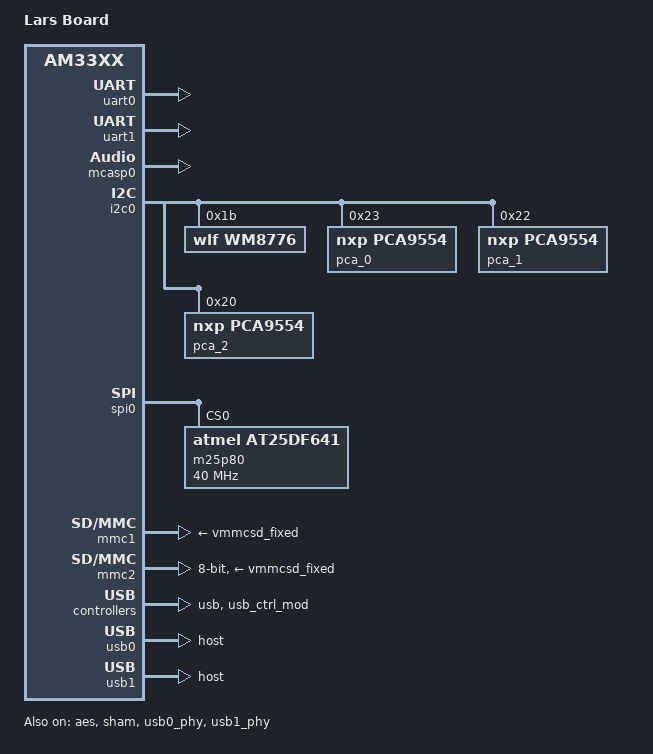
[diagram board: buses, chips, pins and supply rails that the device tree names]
/*
 * Copyright (C) 2012 Texas Instruments Incorporated - http://www.ti.com/
 *
 * This program is free software; you can redistribute it and/or modify
 * it under the terms of the GNU General Public License version 2 as
 * published by the Free Software Foundation.
 */
/dts-v1/;

#include "am33xx.dtsi"
#include "am335x-bone-common.dtsi"

/ {
	model = "Lars Board";
	compatible = "ti,am33xx";	
};

&am33xx_pinmux {
	mcasp0_pins: mcasp0_pins {
		pinctrl-single,pins = <
			AM33XX_IOPAD(0x990, PIN_OUTPUT | MUX_MODE0)
			AM33XX_IOPAD(0x994, PIN_OUTPUT | MUX_MODE0) 
			AM33XX_IOPAD(0x998, PIN_OUTPUT | MUX_MODE0)
			AM33XX_IOPAD(0x99c, PIN_INPUT | MUX_MODE0)
			AM33XX_IOPAD(0x9a0, PIN_OUTPUT | MUX_MODE0)
			AM33XX_IOPAD(0x9a4, PIN_OUTPUT | MUX_MODE0)
			AM33XX_IOPAD(0x9a8, PIN_INPUT | MUX_MODE0) 
			AM33XX_IOPAD(0x9ac, PIN_INPUT | MUX_MODE0)
			>;
		};
	
	uart1_pins: uart1_pins {
		pinctrl-single,pins = <AM33XX_IOPAD(0x980, 0x30)>;
	};
	
	i2c0_pins {
		pinctrl-single,pins = <
			AM33XX_IOPAD(0x988, 0x70)
                        AM33XX_IOPAD(0x98c, 0x70)
		>;
	};
	
	rstctl_pins: rstctl_pins {
		pinctrl-single,pins = <AM33XX_IOPAD(0x854, 0x17)>;
	};
};

&uart0 {
	status = "okay";
};

&uart1 {
	pinctrl-names = "default";
	pinctrl-0 = <&uart1_pins>;
	interrupts = <0x49>;
	reg = <0x0 0x2000>;
	clock-frequency = <0x2dc6c00>;
	status = "okay";
};

&mcasp0	{
	#sound-dai-cells = <0>;
	pinctrl-names = "default";
	pinctrl-0 = <&mcasp0_pins>;
	rx-num-evt = <1>;
	tx-num-evt = <1>;
	serial-dir = <1 2 0 0
		      0 0 0 0
		      0 0 0 0
		      0 0 0 0>;
	num-serializer = <16>;
	tdm-slots = <2>;
	op-mode = <0>;
	status = "okay";
};

&i2c0 {
	status = "okay";
	pinctrl-names = "default";
        pinctrl-0 = <&i2c0_pins>;
	#address-cells = <1>;
	#size-cells = <0>;	

	wm8776: wm8776@1b {
		#sound-dai-cells = <1>;
		reg = <0x1b>;
		compatible = "wlf,wm8776";
	};
		
	pca_0: pca9554@23 {
		reg = <0x23>;
		compatible = "nxp,pca9554";
	};

	pca_1: pca9554@22 {
		reg = <0x22>;
		compatible = "nxp,pca9554";
	};
	pca_2: pca9554@20 {
		reg = <0x20>;
		compatible = "nxp,pca9554";
	};
};

&i2c1 {
	status = "disabled";
};

&i2c2 {
	status = "disabled";
};

&spi0 {
	status = "okay";
	m25p80@0 {
		m25p,fast-read;
		spi-max-frequency = <0x2625a00>;
		reg = <0x00>;
		compatible = "atmel,at25df641";
		#size-cells = <0x01>;
		#address-cells = <0x01>;

		ethaddr@7F0000 {
		reg = <0x7f0000 0x10000>;
		label = "MAC Address";
		};

		uImage@100000 {
		read-only;
		reg = <0x100000 0x500000>;
		label = "Linux Kernel";
		};

		ubootenv@F0000 {
		reg = <0xf0000 0x10000>;
		label = "U-Boot Environment";
		};

		uboot@80000 {
		read-only;
		reg = <0x80000 0x70000>;
		label = "U-Boot";
		};

		spl@0 {
		read-only;
		reg = <0x00 0x80000>;
		label = "U-Boot SPL";
		};
	};
};

&mmc1 {
	vmmc-supply = <&vmmcsd_fixed>;
};

&mmc2 {
	vmmc-supply = <&vmmcsd_fixed>;
	pinctrl-names = "default";
	pinctrl-0 = <&emmc_pins>;
	bus-width = <8>;
	status = "okay";
};

&gpu {
	status = "disabled";
};

&aes {
	status = "okay";
};

&sham {
	status = "okay";
};

&usb {
	status = "okay";
};

&usb_ctrl_mod {
	status = "okay";
};

&usb0_phy {
	status = "okay";
};

&usb1_phy {
	status = "okay";
};

&usb0 {
	status = "okay";
	dr_mode = "host";
};

&usb1 {
	status = "okay";
	dr_mode = "host";
};

&cppi41dma  {
	status = "okay";
};

/ {
 		sound {
 			compatible = "simple-audio-card";
			#address-cells = <1>;
			#size-cells = <0>;

			//simple-audio-card,routing = "cpu0 Capture", "Capture";

			simple-audio-card,name = "audio card";			
			
			simple-audio-card,dai-link@0 {
				reg = <0>;
                                format = "i2s";
				bitclock-master = <&cpu1>;
				frame-master = <&cpu1>;
			
				cpu1: cpu {
                                        sound-dai = <&mcasp0>;
                                        system-clock-frequency = <11289600 24576000>;	
					//system-clock-direction-out;
				};

                                codec {
                                        sound-dai = <&wm8776 0>;
				};
                        };
			simple-audio-card,dai-link@1 {
                                reg = <1>;
				format = "i2s";
                                bitclock-master = <&cpu0>;
                                frame-master = <&cpu0>;
 
				cpu0: cpu {
                                        sound-dai = <&mcasp0>;
					system-clock-frequency = <11289600 24576000>;
					//system-clock-direction-out;
				};

				codec {
					sound-dai = <&wm8776 1>;
				};
                        };
		};
};
